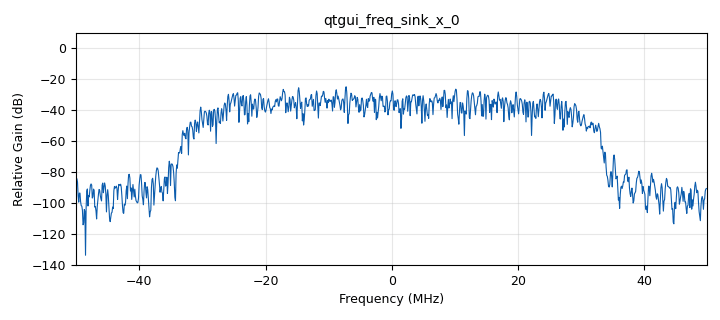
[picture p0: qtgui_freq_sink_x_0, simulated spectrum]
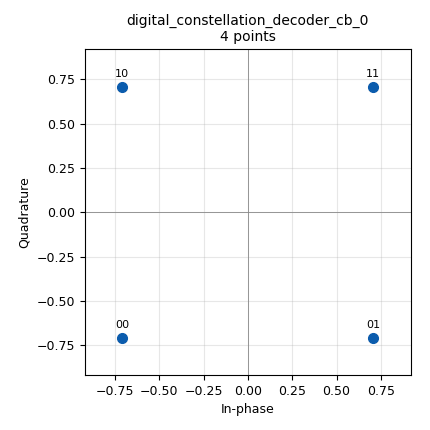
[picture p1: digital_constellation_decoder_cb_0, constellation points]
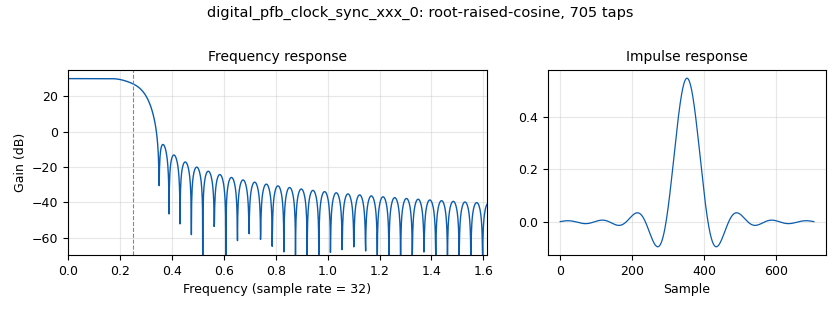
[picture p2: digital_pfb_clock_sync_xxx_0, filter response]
options:
  parameters:
    author: Dominik
    copyright: Dominik
    generate_options: qt_gui
    id: top_block
    output_language: python
    title: Code
  states: {}

blocks:
- name: excess_bw
  id: variable
  parameters:
    value: '0.35'
  states: {}
- name: nfilts
  id: variable
  parameters:
    value: '32'
  states: {}
- name: qpsk_const
  id: variable_constellation
  parameters:
    const_points: digital.psk_4()[0]
    dims: '1'
    precision: '8'
    rot_sym: '4'
    soft_dec_lut: '''auto'''
    sym_map: digital.psk_4()[1]
    type: calcdist
  states: {}
- name: rrc_taps
  id: variable
  parameters:
    value: firdes.root_raised_cosine(nfilts,nfilts,1.0/float(sps),excess_bw,11*sps*nfilts)
  states: {}
- name: samp_rate
  id: variable
  parameters:
    value: '100000000'
  states: {}
- name: sps
  id: variable
  parameters:
    value: '2'
  states: {}
- name: analog_random_source_x_0
  id: analog_random_source_x
  parameters:
    max: '256'
    min: '0'
    num_samps: '1000'
    repeat: 'True'
    type: byte
  states: {}
- name: blocks_char_to_float_0
  id: blocks_char_to_float
  parameters:
    scale: '1'
  states: {}
- name: blocks_char_to_float_0_0
  id: blocks_char_to_float
  parameters:
    scale: '1'
  states: {}
- name: blocks_unpack_k_bits_bb_0
  id: blocks_unpack_k_bits_bb
  parameters:
    k: '2'
  states: {}
- name: blocks_unpack_k_bits_bb_0_0
  id: blocks_unpack_k_bits_bb
  parameters:
    k: '2'
  states: {}
- name: digital_cma_equalizer_cc_0
  id: digital_cma_equalizer_cc
  parameters:
    modulus: '1'
    mu: '0.01'
    num_taps: '11'
    sps: '2'
  states: {}
- name: digital_constellation_decoder_cb_0
  id: digital_constellation_decoder_cb
  parameters:
    constellation: qpsk_const
  states: {}
- name: digital_constellation_modulator_0
  id: digital_constellation_modulator
  parameters:
    constellation: qpsk_const
    differential: 'True'
    excess_bw: excess_bw
    samples_per_symbol: sps
  states: {}
- name: digital_costas_loop_cc_0
  id: digital_costas_loop_cc
  parameters:
    order: '4'
    w: '0.0628'
  states: {}
- name: digital_diff_decoder_bb_0
  id: digital_diff_decoder_bb
  parameters:
    modulus: '4'
  states: {}
- name: digital_map_bb_0
  id: digital_map_bb
  parameters:
    map: digital.psk_4()[1]
  states: {}
- name: digital_pfb_clock_sync_xxx_0
  id: digital_pfb_clock_sync_xxx
  parameters:
    filter_size: nfilts
    init_phase: nfilts/2
    loop_bw: '0.0628'
    max_dev: '1.5'
    osps: '2'
    sps: '4.00'
    taps: rrc_taps
    type: ccf
  states: {}
- name: iio_pluto_sink_0
  id: iio_pluto_sink
  parameters:
    attenuation1: '0'
    auto_filter: 'True'
    bandwidth: '52000000'
    buffer_size: '262144'
    cyclic: 'False'
    frequency: '2400000000'
    samplerate: '2084000'
  states: {}
- name: iio_pluto_source_0
  id: iio_pluto_source
  parameters:
    auto_filter: 'True'
    bandwidth: '52000000'
    bbdc: 'True'
    buffer_size: '262144'
    frequency: '2400000000'
    gain1: '''slow_attack'''
    quadrature: 'True'
    rfdc: 'True'
    samplerate: '2084000'
  states: {}
- name: import_0
  id: import
  parameters:
    imports: import math
  states: {}
- name: import_0_0
  id: import
  parameters:
    imports: import cmath
  states: {}
- name: qtgui_const_sink_x_1_1
  id: qtgui_const_sink_x
  parameters:
    name: '"CMA"'
    size: '1024'
    type: complex
  states: {}
- name: qtgui_freq_sink_x_0
  id: qtgui_freq_sink_x
  parameters:
    bw: samp_rate
    fc: '0'
    fftsize: '1024'
    type: complex
    wintype: firdes.WIN_BLACKMAN_hARRIS
  states: {}
- name: qtgui_time_sink_x_0
  id: qtgui_time_sink_x
  parameters:
    name: '"signal"'
    nconnections: '2'
    size: '1024'
    srate: samp_rate
    type: float
  states: {}

connections:
- [analog_random_source_x_0, '0', blocks_unpack_k_bits_bb_0_0, '0']
- [analog_random_source_x_0, '0', digital_constellation_modulator_0, '0']
- [blocks_char_to_float_0, '0', qtgui_time_sink_x_0, '1']
- [blocks_char_to_float_0_0, '0', qtgui_time_sink_x_0, '0']
- [blocks_unpack_k_bits_bb_0, '0', blocks_char_to_float_0, '0']
- [blocks_unpack_k_bits_bb_0_0, '0', blocks_char_to_float_0_0, '0']
- [digital_cma_equalizer_cc_0, '0', digital_costas_loop_cc_0, '0']
- [digital_constellation_decoder_cb_0, '0', digital_diff_decoder_bb_0, '0']
- [digital_constellation_modulator_0, '0', iio_pluto_sink_0, '0']
- [digital_constellation_modulator_0, '0', qtgui_freq_sink_x_0, '0']
- [digital_costas_loop_cc_0, '0', digital_constellation_decoder_cb_0, '0']
- [digital_costas_loop_cc_0, '0', qtgui_const_sink_x_1_1, '0']
- [digital_diff_decoder_bb_0, '0', digital_map_bb_0, '0']
- [digital_map_bb_0, '0', blocks_unpack_k_bits_bb_0, '0']
- [digital_pfb_clock_sync_xxx_0, '0', digital_cma_equalizer_cc_0, '0']
- [iio_pluto_source_0, '0', digital_pfb_clock_sync_xxx_0, '0']

metadata:
  file_format: 1
